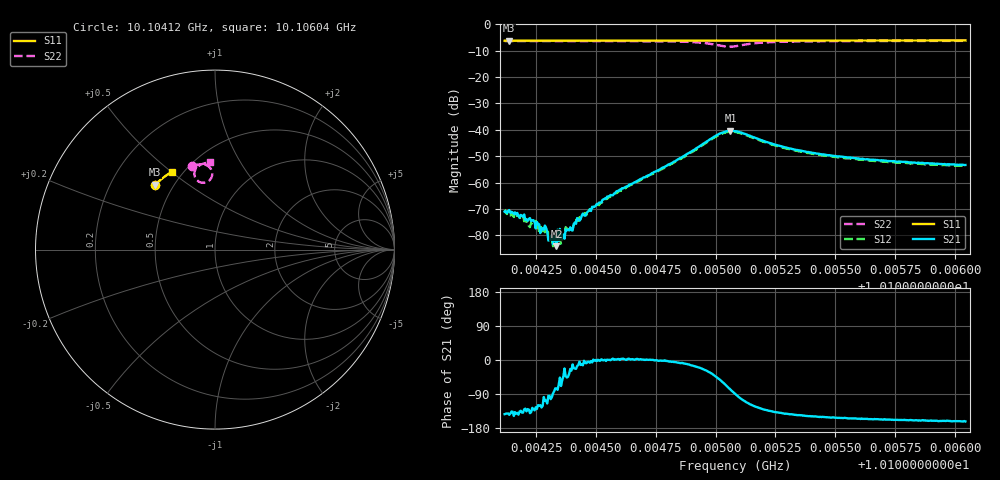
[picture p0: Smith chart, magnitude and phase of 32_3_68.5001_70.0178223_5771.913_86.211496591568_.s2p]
#  HZ  S  RI  R  50.00
! Rohde & Schwarz Vector Network Analyzer
! Rohde-Schwarz,ZNB20-2Port,1311601062101988,3.16
! Created: UTC 3/20/2024, 4:49:59 PM
! freq[Hz]  re:S11  im:S11  re:S21  im:S21  re:S12  im:S12  re:S22  im:S22
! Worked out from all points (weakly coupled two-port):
!   401 points, 10.10412 GHz to 10.10604 GHz, reference 50 ohm
!   highest |S21| = -40.37 dB at 10.10506 GHz (marker M1); lowest = -84.1 dB at 10.10433 GHz (marker M2)
!   lowest |S11| = -6.2 dB at 10.10414 GHz (marker M3), VSWR 2.93, Z = 19.9 + j19 ohm
!   |S11| at or under -10 dB: nowhere
!   |S22| runs from -8.5 to -6.2 dB; largest |S21 - S12| = 0.00095
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1.0104118e10  -0.3333 0.3613  -0.000223 -0.000168  -0.000213 -0.000218  -0.1267 0.4673
1.0104138e10  -0.3324 0.3621  -0.000246 -0.000174  -0.000171 -0.000204  -0.1252 0.4677
1.0104186e10  -0.3305 0.3642  -0.000168 -0.000175  -0.000167 -0.000146  -0.1215 0.4687
1.0104215e10  -0.3292 0.3654  -0.000119 -0.000145  -9.38e-05 -0.000159  -0.1194 0.4692
1.0104234e10  -0.3284 0.3663  -0.000113 -0.000155  -9.25e-05 -0.000121  -0.118 0.4698
1.0104248e10  -0.3278 0.367  -7.7e-05 -0.00011  -0.000112 -0.000149  -0.1169 0.4699
1.0104287e10  -0.326 0.3686  -4.53e-05 -0.000146  -2.26e-05 -0.000111  -0.114 0.4707
1.0104311e10  -0.325 0.3695  -2.15e-05 -9.12e-05  2.16e-06 -0.000101  -0.1121 0.4711
1.0104335e10  -0.3239 0.3707  1.56e-05 -6.01e-05  4.91e-05 -8.68e-05  -0.1102 0.4717
1.0104359e10  -0.3228 0.3716  5.14e-05 -6.95e-05  6.93e-05 -6.86e-05  -0.1082 0.4721
1.0104383e10  -0.3218 0.3726  9.07e-05 -8.94e-05  0.000117 -5.62e-05  -0.1061 0.4726
1.0104393e10  -0.3214 0.373  0.000129 -5.7e-05  0.000133 -4.84e-05  -0.1053 0.4727
1.0104441e10  -0.3192 0.375  0.000232 -4.84e-05  0.00022 -3.91e-05  -0.1013 0.4734
1.0104537e10  -0.3149 0.379  0.000499 6.64e-06  0.000494 5.4e-05  -0.0922 0.4749
1.0104763e10  -0.3043 0.3881  0.00173 -7.24e-05  0.00169 0.000122  -0.0639 0.4751
1.0105009e10  -0.2925 0.3972  0.00548 -0.00595  0.00578 -0.0052  -0.0189 0.4033
1.0105062e10  -0.2902 0.3989  0.00201 -0.00936  0.00276 -0.00882  -0.0624 0.3722
1.0105081e10  -0.2894 0.3996  0.000139 -0.00944  0.000921 -0.00909  -0.0828 0.3754
1.0105259e10  -0.2813 0.4066  -0.00379 -0.0034  -0.00335 -0.00354  -0.1031 0.4552
1.0105403e10  -0.2743 0.4119  -0.00313 -0.00192  -0.00282 -0.00209  -0.0832 0.4714
1.0105726e10  -0.2583 0.4232  -0.00236 -0.001  -0.00216 -0.00115  -0.052 0.4824
1.0106043e10  -0.242 0.4337  -0.00205 -0.00066  -0.0019 -0.000833  -0.0275 0.4864
